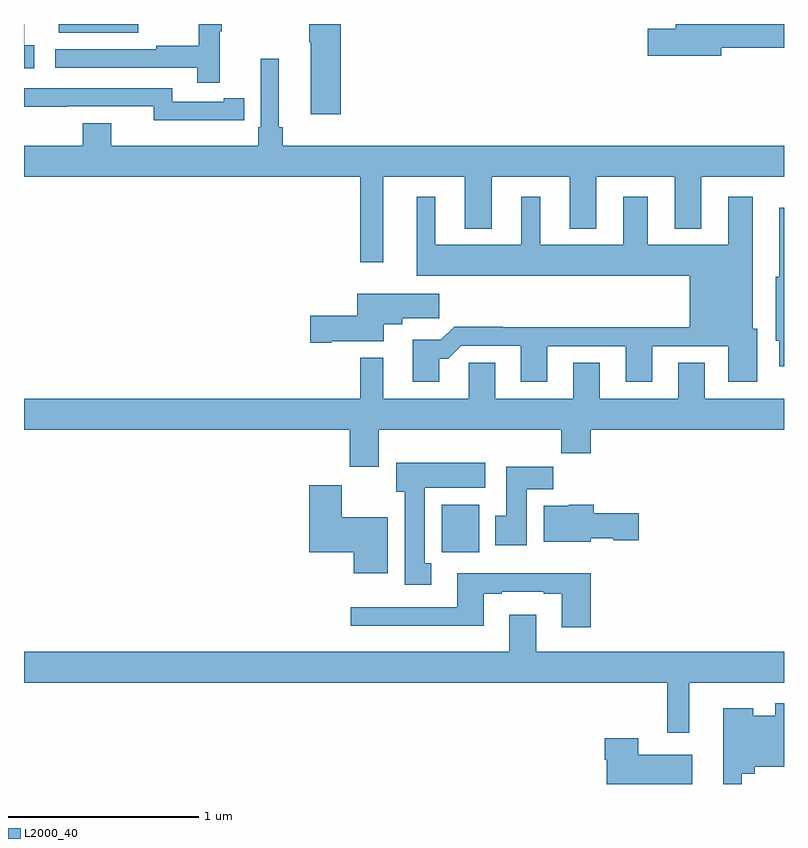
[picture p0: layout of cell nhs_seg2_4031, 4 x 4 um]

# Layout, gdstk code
import gdstk
lib = gdstk.Library(unit=1e-6, precision=1e-09)
def R(c, l, rs):  # rectangles x0, y0, x1, y1
    for r in rs: c.add(gdstk.rectangle(r[:2], r[2:], *l))
def P(c, l, *ps):  # polygons
    for p in ps: c.add(gdstk.Polygon(p, *l))
L2000_40 = (2000, 40)

nhs_seg2_4031 = lib.new_cell('nhs_seg2_4031')
R(nhs_seg2_4031, L2000_40, [(329.199,619.02,329.395,619.27), (327.182,621.755,327.601,621.8)])
P(nhs_seg2_4031, L2000_40, [(328.667,621.8),(328.501,621.8),(328.501,621.703),(328.508,621.703),(328.508,621.324),(328.667,621.324)],
  [(327.055,621.687),(327.002,621.687),(327.002,621.8),(327,621.8),(327,621.567),(327.055,621.567)],
  [(330.67,621.676),(331,621.676),(331,621.8),(330.431,621.8),(330.431,621.776),(330.282,621.776),(330.282,621.634),(330.67,621.634)],
  [(328.031,621.763),(328.042,621.763),(328.042,621.8),(327.921,621.8),(327.921,621.686),(327.697,621.686),(327.697,621.666),(327.165,621.666),(327.165,621.57),(327.913,621.57),(327.913,621.492),(328.031,621.492)],
  [(328.891,620.996),(329.321,620.996),(329.321,620.723),(329.461,620.723),(329.461,620.996),(329.873,620.996),(329.873,620.723),(330.013,620.723),(330.013,620.996),(330.425,620.996),(330.425,620.723),(330.565,620.723),(330.565,620.996),(331,620.996),(331,621.16),(328.361,621.16),(328.361,621.256),(328.342,621.256),(328.342,621.616),(328.245,621.616),(328.245,621.256),(328.232,621.256),(328.232,621.16),(327.46,621.16),(327.46,621.277),(327.308,621.277),(327.308,621.16),(327,621.16),(327,620.996),(328.77,620.996),(328.77,620.547),(328.891,620.547)],
  [(328.052,621.294),(328.16,621.294),(328.16,621.41),(328.052,621.41),(328.052,621.39),(327.78,621.39),(327.78,621.462),(327,621.462),(327,621.365),(327.224,621.365),(327.224,621.366),(327.684,621.366),(327.684,621.293),(328.052,621.293)],
  [(329.185,620.039),(329.234,620.039),(329.301,620.106),(329.615,620.106),(329.615,619.917),(329.755,619.917),(329.755,620.103),(330.167,620.103),(330.167,619.917),(330.307,619.917),(330.307,620.103),(330.707,620.103),(330.707,619.917),(330.859,619.917),(330.859,620.196),(330.835,620.196),(330.835,620.89),(330.707,620.89),(330.707,620.638),(330.283,620.638),(330.283,620.89),(330.155,620.89),(330.155,620.638),(329.716,620.638),(329.716,620.89),(329.618,620.89),(329.618,620.638),(329.164,620.638),(329.164,620.89),(329.066,620.89),(329.066,620.474),(330.503,620.474),(330.503,620.204),(329.519,620.204),(329.519,620.207),(329.264,620.207),(329.194,620.137),(329.045,620.137),(329.045,619.917),(329.185,619.917)],
  [(331,620.833),(330.974,620.833),(330.974,620.469),(330.956,620.469),(330.956,620.133),(330.974,620.133),(330.974,619.998),(331,619.998)],
  [(328.618,620.129),(328.894,620.129),(328.894,620.219),(328.99,620.219),(328.99,620.251),(329.185,620.251),(329.185,620.38),(328.754,620.38),(328.754,620.264),(328.506,620.264),(328.506,620.122),(328.618,620.122)],
  [(328.867,619.664),(329.827,619.664),(329.827,619.54),(329.984,619.54),(329.984,619.664),(331,619.664),(331,619.828),(330.583,619.828),(330.583,620.018),(330.443,620.018),(330.443,619.828),(330.031,619.828),(330.031,620.018),(329.891,620.018),(329.891,619.828),(329.479,619.828),(329.479,620.018),(329.34,620.018),(329.34,619.828),(328.891,619.828),(328.891,620.044),(328.77,620.044),(328.77,619.828),(327,619.828),(327,619.664),(328.715,619.664),(328.715,619.47),(328.867,619.47)],
  [(329.143,618.961),(329.11,618.961),(329.11,619.358),(329.428,619.358),(329.428,619.492),(328.958,619.492),(328.958,619.338),(329.003,619.338),(329.003,618.849),(329.143,618.849)],
  [(329.647,619.352),(329.786,619.352),(329.786,619.471),(329.537,619.471),(329.537,619.212),(329.48,619.212),(329.48,619.056),(329.647,619.056)],
  [(328.915,619.204),(328.672,619.204),(328.672,619.372),(328.502,619.372),(328.502,619.019),(328.736,619.019),(328.736,618.908),(328.915,618.908)],
  [(329.982,619.094),(330.102,619.094),(330.102,619.082),(330.235,619.082),(330.235,619.224),(329.999,619.224),(329.999,619.27),(329.868,619.27),(329.868,619.264),(329.735,619.264),(329.735,619.076),(329.982,619.076)],
  [(329.984,618.91),(329.279,618.91),(329.279,618.729),(328.719,618.729),(328.719,618.632),(329.419,618.632),(329.419,618.801),(329.515,618.801),(329.515,618.813),(329.735,618.813),(329.735,618.801),(329.831,618.801),(329.831,618.624),(329.984,618.624)],
  [(330.502,618.332),(331,618.332),(331,618.496),(329.695,618.496),(329.695,618.691),(329.555,618.691),(329.555,618.496),(327,618.496),(327,618.332),(330.385,618.332),(330.385,618.069),(330.502,618.069)],
  [(330.777,617.855),(330.846,617.855),(330.846,617.891),(331,617.891),(331,618.226),(330.954,618.226),(330.954,618.16),(330.838,618.16),(330.838,618.199),(330.68,618.199),(330.68,617.8),(330.777,617.8)],
  [(330.517,617.953),(330.234,617.953),(330.234,618.04),(330.056,618.04),(330.056,617.927),(330.068,617.927),(330.068,617.8),(330.517,617.8)])

lib.write_gds('nhs_seg2_4031.gds')
